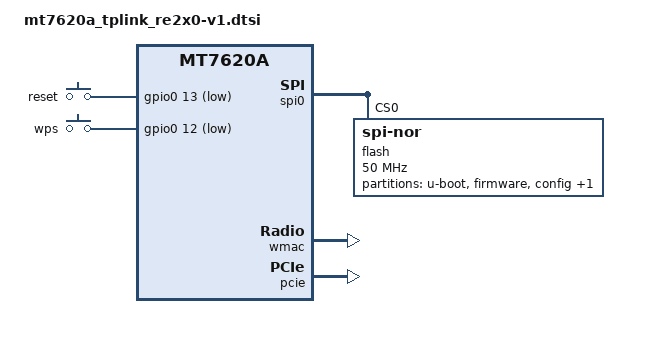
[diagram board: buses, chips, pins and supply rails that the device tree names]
// SPDX-License-Identifier: GPL-2.0-or-later OR MIT

#include "mt7620a.dtsi"

#include <dt-bindings/gpio/gpio.h>
#include <dt-bindings/input/input.h>

/ {
	aliases {
		label-mac-device = &ethernet;
	};

	chosen {
		bootargs = "console=ttyS0,57600n8";
	};

	keys: keys {
		compatible = "gpio-keys";

		reset {
			label = "reset";
			gpios = <&gpio0 13 GPIO_ACTIVE_LOW>;
			linux,code = <KEY_RESTART>;
		};

		wps {
			label = "wps";
			gpios = <&gpio0 12 GPIO_ACTIVE_LOW>;
			linux,code = <KEY_WPS_BUTTON>;
		};
	};
};

&spi0 {
	status = "okay";

	flash@0 {
		compatible = "jedec,spi-nor";
		reg = <0>;
		spi-max-frequency = <50000000>;

		partitions {
			compatible = "fixed-partitions";
			#address-cells = <1>;
			#size-cells = <1>;

			uboot: partition@0 {
				label = "u-boot";
				reg = <0x0 0x20000>;
				read-only;
			};

			partition@20000 {
				compatible = "tplink,firmware";
				label = "firmware";
				reg = <0x20000 0x7c0000>;
			};

			partition@7e0000 {
				label = "config";
				reg = <0x7e0000 0x10000>;
				read-only;
			};

			radio: partition@7f0000 {
				label = "radio";
				reg = <0x7f0000 0x10000>;
				read-only;
			};
		};
	};
};

&ethernet {
	mtd-mac-address = <&uboot 0x1fc00>;
};

&wmac {
	ralink,mtd-eeprom = <&radio 0x0>;
	mtd-mac-address = <&uboot 0x1fc00>;
};

&pcie {
	status = "okay";
};

&pcie0 {
	mt76@0,0 {
		reg = <0x0000 0 0 0 0>;
		mediatek,mtd-eeprom = <&radio 0x8000>;
		mtd-mac-address = <&uboot 0x1fc00>;
		mtd-mac-address-increment = <2>;
		ieee80211-freq-limit = <5000000 6000000>;
	};
};
